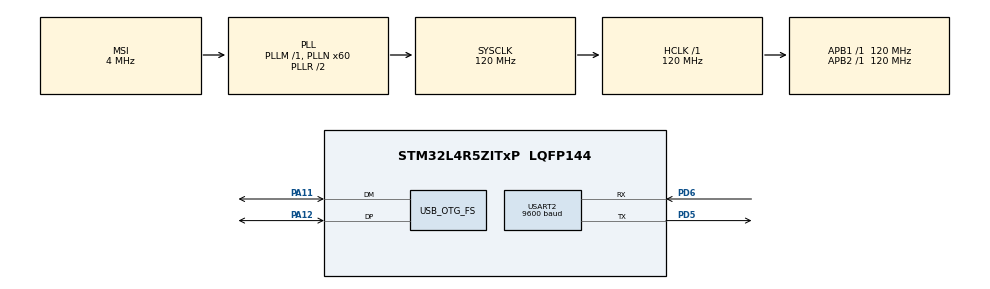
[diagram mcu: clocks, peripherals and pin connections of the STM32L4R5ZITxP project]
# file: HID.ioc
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Mcu.Family=STM32L4
Mcu.Name=STM32L4R5ZITxP
Mcu.Package=LQFP144
NVIC.OTG_FS_IRQn=true\:0\:0\:false\:false\:true\:false\:true\:true
NVIC.PriorityGroup=NVIC_PRIORITYGROUP_4
NVIC.USART2_IRQn=true\:0\:0\:false\:false\:true\:true\:true\:true
PA0.Signal=S_TIM2_CH1
PA1.Signal=ADCx_IN6
PA10.Signal=USB_OTG_FS_ID
PA11.Mode=Device_Only
PA11.Signal=USB_OTG_FS_DM
PA12.Mode=Device_Only
PA12.Signal=USB_OTG_FS_DP
PA13\ (JTMS/SWDIO).Signal=USB_OTG_FS_NOE
PA14\ (JTCK/SWCLK).Signal=SYS_JTCK-SWCLK
PA3.Signal=ADCx_IN8
PA4.Signal=SPI1_NSS
PA5.Signal=SPI1_SCK
PA6.Signal=SPI1_MISO
PA7.Signal=SPI1_MOSI
PA8.Signal=USB_OTG_FS_SOF
PA9.Signal=USB_OTG_FS_VBUS
PB0.Signal=S_TIM3_CH3
PB1.Signal=ADCx_IN16
PB10.Signal=S_TIM2_CH3
PB12.Signal=SAI2_FS_A
PB13.Signal=SAI2_SCK_A
PB14.Signal=S_TIM15_CH1
PB15.Signal=SAI2_SD_A
PB2.Signal=COMP1_INP
PB3\ (JTDO/TRACESWO).Signal=SPI3_SCK
PB4\ (NJTRST).Signal=SPI3_MISO
PB5.Signal=SPI3_MOSI
PB6.Signal=COMP2_INP
PB8.Signal=I2C1_SCL
PB9.Signal=I2C1_SDA
PC0.Signal=ADCx_IN1
PC1.Signal=ADCx_IN2
PC10.Signal=SDMMC1_D2
PC11.Signal=SDMMC1_D3
PC12.Signal=SDMMC1_CK
PC13.Signal=SYS_WKUP2
PC14-OSC32_IN\ (PC14).Signal=RCC_OSC32_IN
PC15-OSC32_OUT\ (PC15).Signal=RCC_OSC32_OUT
PC2.Signal=ADCx_IN3
PC3.Signal=ADCx_IN4
PC4.Signal=ADCx_IN13
PC5.Signal=ADCx_IN14
PC6.Signal=SAI2_MCLK_A
PC7.Signal=S_TIM3_CH2
PC8.Signal=SDMMC1_D0
PC9.Signal=SDMMC1_D1
PD0.Signal=CAN1_RX
PD14.Signal=S_TIM4_CH3
PD15.Signal=S_TIM4_CH4
PD2.Signal=SDMMC1_CMD
PD3.Signal=USART2_CTS
PD4.Signal=USART2_RTS
PD5.Mode=Asynchronous
PD5.Signal=USART2_TX
PD6.Mode=Asynchronous
PD6.Signal=USART2_RX
PD8.Signal=USART3_TX
PD9.Signal=USART3_RX
PE0.Signal=S_TIM4_ETR
PE10.Signal=TIM1_CH2N
PE11.Signal=S_TIM1_CH2
PE12.Signal=TIM1_CH3N
PE13.Signal=S_TIM1_CH3
PE14.Signal=TIM1_BKIN2
PE15.Signal=TIM1_BKIN
PE2.Signal=SAI1_MCLK_A
PE3.Signal=SAI1_SD_B
PE7.Signal=S_TIM1_ETR
PE8.Signal=TIM1_CH1N
PE9.Signal=S_TIM1_CH1
PF0.Signal=I2C2_SDA
PF1.Signal=I2C2_SCL
PF2.Signal=I2C2_SMBA
PF7.Signal=SAI1_MCLK_B
PG7.Signal=LPUART1_TX
PG8.Signal=LPUART1_RX
PH0-OSC_IN\ (PH0).Signal=RCC_OSC_IN
PH1-OSC_OUT\ (PH1).Signal=RCC_OSC_OUT
ProjectManager.HeapSize=0x200
ProjectManager.StackSize=0x400
ProjectManager.TargetToolchain=STM32CubeIDE
RCC.ADCFreq_Value=48000000
RCC.AHBFreq_Value=120000000
RCC.APB1Freq_Value=120000000
RCC.APB1TimFreq_Value=120000000
RCC.APB2Freq_Value=120000000
RCC.APB2TimFreq_Value=120000000
RCC.CortexFreq_Value=120000000
RCC.HCLKFreq_Value=120000000
RCC.HSE_VALUE=8000000
RCC.HSI48_VALUE=48000000
RCC.HSI_VALUE=16000000
RCC.LSE_VALUE=32768
RCC.MSI_VALUE=4000000
RCC.PLLN=60
RCC.PLLSAI1N=24
RCC.SYSCLKFreq_VALUE=120000000
RCC.SYSCLKSource=RCC_SYSCLKSOURCE_PLLCLK
RCC.USBFreq_Value=48000000
RCC.VCOOutputFreq_Value=240000000
SH.ADCx_IN1.0=ADC1_IN1
SH.ADCx_IN13.0=ADC1_IN13
SH.ADCx_IN14.0=ADC1_IN14
SH.ADCx_IN16.0=ADC1_IN16
SH.ADCx_IN2.0=ADC1_IN2
SH.ADCx_IN3.0=ADC1_IN3
SH.ADCx_IN4.0=ADC1_IN4
SH.ADCx_IN6.0=ADC1_IN6
SH.ADCx_IN8.0=ADC1_IN8
SH.S_TIM15_CH1.0=TIM15_CH1
SH.S_TIM1_CH1.0=TIM1_CH1
SH.S_TIM1_CH2.0=TIM1_CH2
SH.S_TIM1_CH3.0=TIM1_CH3
SH.S_TIM1_ETR.0=TIM1_ETR
SH.S_TIM2_CH1.0=TIM2_CH1
SH.S_TIM2_CH3.0=TIM2_CH3
SH.S_TIM3_CH2.0=TIM3_CH2
SH.S_TIM3_CH3.0=TIM3_CH3
SH.S_TIM4_CH3.0=TIM4_CH3
SH.S_TIM4_CH4.0=TIM4_CH4
SH.S_TIM4_ETR.0=TIM4_ETR
USART2.BaudRate=9600
USART2.VirtualMode-Asynchronous=VM_ASYNC
USB_DEVICE.CLASS_NAME_FS=HID
USB_DEVICE.VirtualMode=Hid
USB_DEVICE.VirtualModeFS=Hid_FS
USB_OTG_FS.VirtualMode=Device_Only
VP_USB_DEVICE_VS_USB_DEVICE_HID_FS.Mode=HID_FS
board=NUCLEO-L4R5ZI-P

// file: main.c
/* USER CODE BEGIN Header */
/**
  ******************************************************************************
  * @file           : main.c
  * @brief          : Main program body
  ******************************************************************************
  * @attention
  *
  * Copyright (c) 2024 STMicroelectronics.
  * All rights reserved.
  *
  * This software is licensed under terms that can be found in the LICENSE file
  * in the root directory of this software component.
  * If no LICENSE file comes with this software, it is provided AS-IS.
  *
  ******************************************************************************
  */
/* USER CODE END Header */
#include "main.h"
#include "usb_device.h"

/* USER CODE BEGIN Includes */
//#include "usb_device.h"
#include "usbd_hid.h"
#include <string.h>
#define RX_BUFFER_SIZE 6
/* USER CODE END Includes */

UART_HandleTypeDef huart2;

/* USER CODE BEGIN PV */
extern USBD_HandleTypeDef hUsbDeviceFS;
/* USER CODE END PV */

void SystemClock_Config(void);
static void MX_GPIO_Init(void);
static void MX_USART2_UART_Init(void);

/* USER CODE BEGIN 0 */
int orientation = -1;
float movement = 100;
int counter = 0;
int counterWheel = 0;
//int counter = 0;

typedef struct
{
	uint8_t button;
	int8_t mouse_x;
	int8_t mouse_y;
	int8_t wheel;
}mouseHID;

int buff = 5;
int ybuff = 4;
mouseHID mouse = {0,0,0,0};
//uint8_t dataReceive[4];
uint8_t rx_buffer[6] = {0,0,0,0,0,0}; // Buffer to hold received data
volatile uint8_t data_received = 0; // Flag to indicate reception completion

void HAL_UART_RxCpltCallback(UART_HandleTypeDef *huart) {
    if (huart->Instance == USART2) { // Match the UART instance
        data_received = 1; // Set flag to indicate data is received
    }
}

void process_mouse()
{
	if(counter > 1)
	{
		counter = 0;
	}
	mouse.button = 0;
	mouse.mouse_x = 0;
	mouse.mouse_y = 0;
	mouse.wheel = 0;
	if (rx_buffer[0] != 0xAA) {
		HAL_Delay(1);
	}
	else {
	int8_t xR = rx_buffer[2];
	int8_t yR = rx_buffer[1];

	movement = rx_buffer[5];

	if(rx_buffer[3]==1 && rx_buffer[4]==1)
	{
		if(counterWheel > 10)
		{
			counterWheel = 0;
		}
		if(counterWheel ==10)
		{
			mouse.button = 0;
			mouse.mouse_x = 0;
			mouse.mouse_y = 0;
			mouse.wheel =  rx_buffer[1];
			if(mouse.wheel > 1)
			{
				mouse.wheel = 1;
			}else if (mouse.wheel < -1)
			{
				mouse.wheel = -1;
			}
		}
		counterWheel++;
		return;
	}
	counterWheel =0;
	if(rx_buffer[3] ==1)
	{
		mouse.button = 1;
	}else if(rx_buffer[4] == 1)
	{
		mouse.button = 2;
	}else{
		mouse.button = 0;
	}

	if (counter == 1)
	{

		if(xR >= -buff && xR <= buff)
			{
				mouse.mouse_x = 0;
			}else if(xR < -buff){
				if(orientation > 0)
				{
					mouse.mouse_x = (movement/100) *( orientation*xR + buff);
				}else{
					mouse.mouse_x = (movement/100) * (orientation*xR - buff);
				}
			}else{
				if(orientation > 0)
				{
					mouse.mouse_x = (movement/100) *(orientation*xR - buff);
				}else{
					mouse.mouse_x = (movement/100) *( orientation*xR + buff);
				}

			}

			if(yR >= -ybuff && yR  <= ybuff)
			{
				mouse.mouse_y = 0;
			}else if(yR < -ybuff)
			{
				mouse.mouse_y = (movement/100) *(yR +ybuff );
			}else{
				mouse.mouse_y = (movement/100) *(yR - ybuff);
			}
	}

	mouse.wheel  = 0;
	counter ++;
	}

//	mouse.mouse_y = rx_buffer[0]
	//mouse.wheel = rx_buffer[1];

//	mouse.button = rx_buffer[0];
//	mouse.mouse_x = rx_buffer[1];
//	mouse.mouse_y = rx_buffer[2];
	//mouse.wheel = rx_buffer[3];
}

void mouse_send()
{

	USBD_HID_SendReport(&hUsbDeviceFS, &mouse, sizeof(mouse));

	//USBD_HID_SendReport(&hUsbDeviceFS, &mouse, sizeof(mouse));
}
/* USER CODE END 0 */

int main(void)
{

  /* MCU Configuration--------------------------------------------------------*/

  /* Reset of all peripherals, Initializes the Flash interface and the Systick. */
  HAL_Init();

  /* Configure the system clock */
  SystemClock_Config();

  /* Initialize all configured peripherals */
  MX_GPIO_Init();
  MX_USART2_UART_Init();
  MX_USB_DEVICE_Init();
  /* USER CODE BEGIN 2 */
  HAL_UART_Receive_IT(&huart2, rx_buffer, sizeof(rx_buffer));
  /* USER CODE END 2 */

  /* Infinite loop */
  while (1)
  {

    /* USER CODE BEGIN 3 */
	  if(data_received){
		//__HAL_UART_DISABLE_IT(&huart2, UART_IT_RXNE);
	  	process_mouse();
	  	mouse_send();
	  	data_received = 0;
	  	//__HAL_UART_ENABLE_IT(&huart2, UART_IT_RXNE);
	  }
	 // memset(rx_buffer, 0, sizeof(rx_buffer));

	  HAL_UART_Receive_IT(&huart2, rx_buffer, sizeof(rx_buffer));

  }
  /* USER CODE END 3 */
}

void SystemClock_Config(void)
{
  RCC_OscInitTypeDef RCC_OscInitStruct = {0};
  RCC_ClkInitTypeDef RCC_ClkInitStruct = {0};

  /** Configure the main internal regulator output voltage
  */
  if (HAL_PWREx_ControlVoltageScaling(PWR_REGULATOR_VOLTAGE_SCALE1_BOOST) != HAL_OK)
  {
    Error_Handler();
  }

  /** Initializes the RCC Oscillators according to the specified parameters
  * in the RCC_OscInitTypeDef structure.
  */
  RCC_OscInitStruct.OscillatorType = RCC_OSCILLATORTYPE_MSI;
  RCC_OscInitStruct.MSIState = RCC_MSI_ON;
  RCC_OscInitStruct.MSICalibrationValue = 0;
  RCC_OscInitStruct.MSIClockRange = RCC_MSIRANGE_6;
  RCC_OscInitStruct.PLL.PLLState = RCC_PLL_ON;
  RCC_OscInitStruct.PLL.PLLSource = RCC_PLLSOURCE_MSI;
  RCC_OscInitStruct.PLL.PLLM = 1;
  RCC_OscInitStruct.PLL.PLLN = 60;
  RCC_OscInitStruct.PLL.PLLP = RCC_PLLP_DIV2;
  RCC_OscInitStruct.PLL.PLLQ = RCC_PLLQ_DIV2;
  RCC_OscInitStruct.PLL.PLLR = RCC_PLLR_DIV2;
  if (HAL_RCC_OscConfig(&RCC_OscInitStruct) != HAL_OK)
  {
    Error_Handler();
  }

  /** Initializes the CPU, AHB and APB buses clocks
  */
  RCC_ClkInitStruct.ClockType = RCC_CLOCKTYPE_HCLK|RCC_CLOCKTYPE_SYSCLK
                              |RCC_CLOCKTYPE_PCLK1|RCC_CLOCKTYPE_PCLK2;
  RCC_ClkInitStruct.SYSCLKSource = RCC_SYSCLKSOURCE_PLLCLK;
  RCC_ClkInitStruct.AHBCLKDivider = RCC_SYSCLK_DIV1;
  RCC_ClkInitStruct.APB1CLKDivider = RCC_HCLK_DIV1;
  RCC_ClkInitStruct.APB2CLKDivider = RCC_HCLK_DIV1;

  if (HAL_RCC_ClockConfig(&RCC_ClkInitStruct, FLASH_LATENCY_5) != HAL_OK)
  {
    Error_Handler();
  }

  /** Enable MSI Auto calibration
  */
  HAL_RCCEx_EnableMSIPLLMode();
}

static void MX_USART2_UART_Init(void)
{

  huart2.Instance = USART2;
  huart2.Init.BaudRate = 9600;
  huart2.Init.WordLength = UART_WORDLENGTH_8B;
  huart2.Init.StopBits = UART_STOPBITS_1;
  huart2.Init.Parity = UART_PARITY_NONE;
  huart2.Init.Mode = UART_MODE_TX_RX;
  huart2.Init.HwFlowCtl = UART_HWCONTROL_NONE;
  huart2.Init.OverSampling = UART_OVERSAMPLING_16;
  huart2.Init.OneBitSampling = UART_ONE_BIT_SAMPLE_DISABLE;
  huart2.Init.ClockPrescaler = UART_PRESCALER_DIV1;
  huart2.AdvancedInit.AdvFeatureInit = UART_ADVFEATURE_NO_INIT;
  if (HAL_UART_Init(&huart2) != HAL_OK)
  {
    Error_Handler();
  }
  if (HAL_UARTEx_SetTxFifoThreshold(&huart2, UART_TXFIFO_THRESHOLD_1_8) != HAL_OK)
  {
    Error_Handler();
  }
  if (HAL_UARTEx_SetRxFifoThreshold(&huart2, UART_RXFIFO_THRESHOLD_1_8) != HAL_OK)
  {
    Error_Handler();
  }
  if (HAL_UARTEx_DisableFifoMode(&huart2) != HAL_OK)
  {
    Error_Handler();
  }

}

static void MX_GPIO_Init(void)
{
  GPIO_InitTypeDef GPIO_InitStruct = {0};

  /* GPIO Ports Clock Enable */
  __HAL_RCC_GPIOE_CLK_ENABLE();
  __HAL_RCC_GPIOC_CLK_ENABLE();
  __HAL_RCC_GPIOF_CLK_ENABLE();
  __HAL_RCC_GPIOH_CLK_ENABLE();
  __HAL_RCC_GPIOA_CLK_ENABLE();
  __HAL_RCC_GPIOB_CLK_ENABLE();
  __HAL_RCC_GPIOD_CLK_ENABLE();
  __HAL_RCC_GPIOG_CLK_ENABLE();
  HAL_PWREx_EnableVddIO2();

  /*Configure GPIO pins : PE2 PE3 */
  GPIO_InitStruct.Pin = GPIO_PIN_2|GPIO_PIN_3;
  GPIO_InitStruct.Mode = GPIO_MODE_AF_PP;
  GPIO_InitStruct.Pull = GPIO_NOPULL;
  GPIO_InitStruct.Speed = GPIO_SPEED_FREQ_LOW;
  GPIO_InitStruct.Alternate = GPIO_AF13_SAI1;
  HAL_GPIO_Init(GPIOE, &GPIO_InitStruct);

  /*Configure GPIO pins : PF0 PF1 PF2 */
  GPIO_InitStruct.Pin = GPIO_PIN_0|GPIO_PIN_1|GPIO_PIN_2;
  GPIO_InitStruct.Mode = GPIO_MODE_AF_OD;
  GPIO_InitStruct.Pull = GPIO_NOPULL;
  GPIO_InitStruct.Speed = GPIO_SPEED_FREQ_VERY_HIGH;
  GPIO_InitStruct.Alternate = GPIO_AF4_I2C2;
  HAL_GPIO_Init(GPIOF, &GPIO_InitStruct);

  /*Configure GPIO pin : PF7 */
  GPIO_InitStruct.Pin = GPIO_PIN_7;
  GPIO_InitStruct.Mode = GPIO_MODE_AF_PP;
  GPIO_InitStruct.Pull = GPIO_NOPULL;
  GPIO_InitStruct.Speed = GPIO_SPEED_FREQ_LOW;
  GPIO_InitStruct.Alternate = GPIO_AF13_SAI1;
  HAL_GPIO_Init(GPIOF, &GPIO_InitStruct);

  /*Configure GPIO pins : PC0 PC1 PC2 PC3
                           PC4 PC5 */
  GPIO_InitStruct.Pin = GPIO_PIN_0|GPIO_PIN_1|GPIO_PIN_2|GPIO_PIN_3
                          |GPIO_PIN_4|GPIO_PIN_5;
  GPIO_InitStruct.Mode = GPIO_MODE_ANALOG_ADC_CONTROL;
  GPIO_InitStruct.Pull = GPIO_NOPULL;
  HAL_GPIO_Init(GPIOC, &GPIO_InitStruct);

  /*Configure GPIO pin : PA0 */
  GPIO_InitStruct.Pin = GPIO_PIN_0;
  GPIO_InitStruct.Mode = GPIO_MODE_AF_PP;
  GPIO_InitStruct.Pull = GPIO_NOPULL;
  GPIO_InitStruct.Speed = GPIO_SPEED_FREQ_LOW;
  GPIO_InitStruct.Alternate = GPIO_AF1_TIM2;
  HAL_GPIO_Init(GPIOA, &GPIO_InitStruct);

  /*Configure GPIO pins : PA1 PA3 */
  GPIO_InitStruct.Pin = GPIO_PIN_1|GPIO_PIN_3;
  GPIO_InitStruct.Mode = GPIO_MODE_ANALOG_ADC_CONTROL;
  GPIO_InitStruct.Pull = GPIO_NOPULL;
  HAL_GPIO_Init(GPIOA, &GPIO_InitStruct);

  /*Configure GPIO pins : PA4 PA5 PA6 PA7 */
  GPIO_InitStruct.Pin = GPIO_PIN_4|GPIO_PIN_5|GPIO_PIN_6|GPIO_PIN_7;
  GPIO_InitStruct.Mode = GPIO_MODE_AF_PP;
  GPIO_InitStruct.Pull = GPIO_NOPULL;
  GPIO_InitStruct.Speed = GPIO_SPEED_FREQ_VERY_HIGH;
  GPIO_InitStruct.Alternate = GPIO_AF5_SPI1;
  HAL_GPIO_Init(GPIOA, &GPIO_InitStruct);

  /*Configure GPIO pin : PB0 */
  GPIO_InitStruct.Pin = GPIO_PIN_0;
  GPIO_InitStruct.Mode = GPIO_MODE_AF_PP;
  GPIO_InitStruct.Pull = GPIO_NOPULL;
  GPIO_InitStruct.Speed = GPIO_SPEED_FREQ_LOW;
  GPIO_InitStruct.Alternate = GPIO_AF2_TIM3;
  HAL_GPIO_Init(GPIOB, &GPIO_InitStruct);

  /*Configure GPIO pin : PB1 */
  GPIO_InitStruct.Pin = GPIO_PIN_1;
  GPIO_InitStruct.Mode = GPIO_MODE_ANALOG_ADC_CONTROL;
  GPIO_InitStruct.Pull = GPIO_NOPULL;
  HAL_GPIO_Init(GPIOB, &GPIO_InitStruct);

  /*Configure GPIO pins : PB2 PB6 */
  GPIO_InitStruct.Pin = GPIO_PIN_2|GPIO_PIN_6;
  GPIO_InitStruct.Mode = GPIO_MODE_ANALOG;
  GPIO_InitStruct.Pull = GPIO_NOPULL;
  HAL_GPIO_Init(GPIOB, &GPIO_InitStruct);

  /*Configure GPIO pins : PE7 PE8 PE9 PE10
                           PE11 PE12 PE13 */
  GPIO_InitStruct.Pin = GPIO_PIN_7|GPIO_PIN_8|GPIO_PIN_9|GPIO_PIN_10
                          |GPIO_PIN_11|GPIO_PIN_12|GPIO_PIN_13;
  GPIO_InitStruct.Mode = GPIO_MODE_AF_PP;
  GPIO_InitStruct.Pull = GPIO_NOPULL;
  GPIO_InitStruct.Speed = GPIO_SPEED_FREQ_LOW;
  GPIO_InitStruct.Alternate = GPIO_AF1_TIM1;
  HAL_GPIO_Init(GPIOE, &GPIO_InitStruct);

  /*Configure GPIO pins : PE14 PE15 */
  GPIO_InitStruct.Pin = GPIO_PIN_14|GPIO_PIN_15;
  GPIO_InitStruct.Mode = GPIO_MODE_AF_PP;
  GPIO_InitStruct.Pull = GPIO_NOPULL;
  GPIO_InitStruct.Speed = GPIO_SPEED_FREQ_LOW;
  GPIO_InitStruct.Alternate = GPIO_AF3_TIM1_COMP1;
  HAL_GPIO_Init(GPIOE, &GPIO_InitStruct);

  /*Configure GPIO pin : PB10 */
  GPIO_InitStruct.Pin = GPIO_PIN_10;
  GPIO_InitStruct.Mode = GPIO_MODE_AF_PP;
  GPIO_InitStruct.Pull = GPIO_NOPULL;
  GPIO_InitStruct.Speed = GPIO_SPEED_FREQ_LOW;
  GPIO_InitStruct.Alternate = GPIO_AF1_TIM2;
  HAL_GPIO_Init(GPIOB, &GPIO_InitStruct);

  /*Configure GPIO pins : PB12 PB13 PB15 */
  GPIO_InitStruct.Pin = GPIO_PIN_12|GPIO_PIN_13|GPIO_PIN_15;
  GPIO_InitStruct.Mode = GPIO_MODE_AF_PP;
  GPIO_InitStruct.Pull = GPIO_NOPULL;
  GPIO_InitStruct.Speed = GPIO_SPEED_FREQ_LOW;
  GPIO_InitStruct.Alternate = GPIO_AF13_SAI2;
  HAL_GPIO_Init(GPIOB, &GPIO_InitStruct);

  /*Configure GPIO pin : PB14 */
  GPIO_InitStruct.Pin = GPIO_PIN_14;
  GPIO_InitStruct.Mode = GPIO_MODE_AF_PP;
  GPIO_InitStruct.Pull = GPIO_NOPULL;
  GPIO_InitStruct.Speed = GPIO_SPEED_FREQ_LOW;
  GPIO_InitStruct.Alternate = GPIO_AF14_TIM15;
  HAL_GPIO_Init(GPIOB, &GPIO_InitStruct);

  /*Configure GPIO pins : PD8 PD9 */
  GPIO_InitStruct.Pin = GPIO_PIN_8|GPIO_PIN_9;
  GPIO_InitStruct.Mode = GPIO_MODE_AF_PP;
  GPIO_InitStruct.Pull = GPIO_NOPULL;
  GPIO_InitStruct.Speed = GPIO_SPEED_FREQ_VERY_HIGH;
  GPIO_InitStruct.Alternate = GPIO_AF7_USART3;
  HAL_GPIO_Init(GPIOD, &GPIO_InitStruct);

  /*Configure GPIO pins : PD14 PD15 */
  GPIO_InitStruct.Pin = GPIO_PIN_14|GPIO_PIN_15;
  GPIO_InitStruct.Mode = GPIO_MODE_AF_PP;
  GPIO_InitStruct.Pull = GPIO_NOPULL;
  GPIO_InitStruct.Speed = GPIO_SPEED_FREQ_LOW;
  GPIO_InitStruct.Alternate = GPIO_AF2_TIM4;
  HAL_GPIO_Init(GPIOD, &GPIO_InitStruct);

  /*Configure GPIO pins : PG7 PG8 */
  GPIO_InitStruct.Pin = GPIO_PIN_7|GPIO_PIN_8;
  GPIO_InitStruct.Mode = GPIO_MODE_AF_PP;
  GPIO_InitStruct.Pull = GPIO_NOPULL;
  GPIO_InitStruct.Speed = GPIO_SPEED_FREQ_VERY_HIGH;
  GPIO_InitStruct.Alternate = GPIO_AF8_LPUART1;
  HAL_GPIO_Init(GPIOG, &GPIO_InitStruct);

  /*Configure GPIO pin : PC6 */
  GPIO_InitStruct.Pin = GPIO_PIN_6;
  GPIO_InitStruct.Mode = GPIO_MODE_AF_PP;
  GPIO_InitStruct.Pull = GPIO_NOPULL;
  GPIO_InitStruct.Speed = GPIO_SPEED_FREQ_LOW;
  GPIO_InitStruct.Alternate = GPIO_AF13_SAI2;
  HAL_GPIO_Init(GPIOC, &GPIO_InitStruct);

  /*Configure GPIO pin : PC7 */
  GPIO_InitStruct.Pin = GPIO_PIN_7;
  GPIO_InitStruct.Mode = GPIO_MODE_AF_PP;
  GPIO_InitStruct.Pull = GPIO_NOPULL;
  GPIO_InitStruct.Speed = GPIO_SPEED_FREQ_LOW;
  GPIO_InitStruct.Alternate = GPIO_AF2_TIM3;
  HAL_GPIO_Init(GPIOC, &GPIO_InitStruct);

  /*Configure GPIO pins : PC8 PC9 PC10 PC11
                           PC12 */
  GPIO_InitStruct.Pin = GPIO_PIN_8|GPIO_PIN_9|GPIO_PIN_10|GPIO_PIN_11
                          |GPIO_PIN_12;
  GPIO_InitStruct.Mode = GPIO_MODE_AF_PP;
  GPIO_InitStruct.Pull = GPIO_NOPULL;
  GPIO_InitStruct.Speed = GPIO_SPEED_FREQ_VERY_HIGH;
  GPIO_InitStruct.Alternate = GPIO_AF12_SDMMC1;
  HAL_GPIO_Init(GPIOC, &GPIO_InitStruct);

  /*Configure GPIO pin : PD0 */
  GPIO_InitStruct.Pin = GPIO_PIN_0;
  GPIO_InitStruct.Mode = GPIO_MODE_AF_PP;
  GPIO_InitStruct.Pull = GPIO_NOPULL;
  GPIO_InitStruct.Speed = GPIO_SPEED_FREQ_VERY_HIGH;
  GPIO_InitStruct.Alternate = GPIO_AF9_CAN1;
  HAL_GPIO_Init(GPIOD, &GPIO_InitStruct);

  /*Configure GPIO pin : PD2 */
  GPIO_InitStruct.Pin = GPIO_PIN_2;
  GPIO_InitStruct.Mode = GPIO_MODE_AF_PP;
  GPIO_InitStruct.Pull = GPIO_NOPULL;
  GPIO_InitStruct.Speed = GPIO_SPEED_FREQ_VERY_HIGH;
  GPIO_InitStruct.Alternate = GPIO_AF12_SDMMC1;
  HAL_GPIO_Init(GPIOD, &GPIO_InitStruct);

  /*Configure GPIO pins : PB3 PB4 PB5 */
  GPIO_InitStruct.Pin = GPIO_PIN_3|GPIO_PIN_4|GPIO_PIN_5;
  GPIO_InitStruct.Mode = GPIO_MODE_AF_PP;
  GPIO_InitStruct.Pull = GPIO_NOPULL;
  GPIO_InitStruct.Speed = GPIO_SPEED_FREQ_VERY_HIGH;
  GPIO_InitStruct.Alternate = GPIO_AF6_SPI3;
  HAL_GPIO_Init(GPIOB, &GPIO_InitStruct);

  /*Configure GPIO pins : PB8 PB9 */
  GPIO_InitStruct.Pin = GPIO_PIN_8|GPIO_PIN_9;
  GPIO_InitStruct.Mode = GPIO_MODE_AF_OD;
  GPIO_InitStruct.Pull = GPIO_NOPULL;
  GPIO_InitStruct.Speed = GPIO_SPEED_FREQ_VERY_HIGH;
  GPIO_InitStruct.Alternate = GPIO_AF4_I2C1;
  HAL_GPIO_Init(GPIOB, &GPIO_InitStruct);

  /*Configure GPIO pin : PE0 */
  GPIO_InitStruct.Pin = GPIO_PIN_0;
  GPIO_InitStruct.Mode = GPIO_MODE_AF_PP;
  GPIO_InitStruct.Pull = GPIO_NOPULL;
  GPIO_InitStruct.Speed = GPIO_SPEED_FREQ_LOW;
  GPIO_InitStruct.Alternate = GPIO_AF2_TIM4;
  HAL_GPIO_Init(GPIOE, &GPIO_InitStruct);

}

void Error_Handler(void)
{
  __disable_irq();
  while (1)
  {
  }
}
